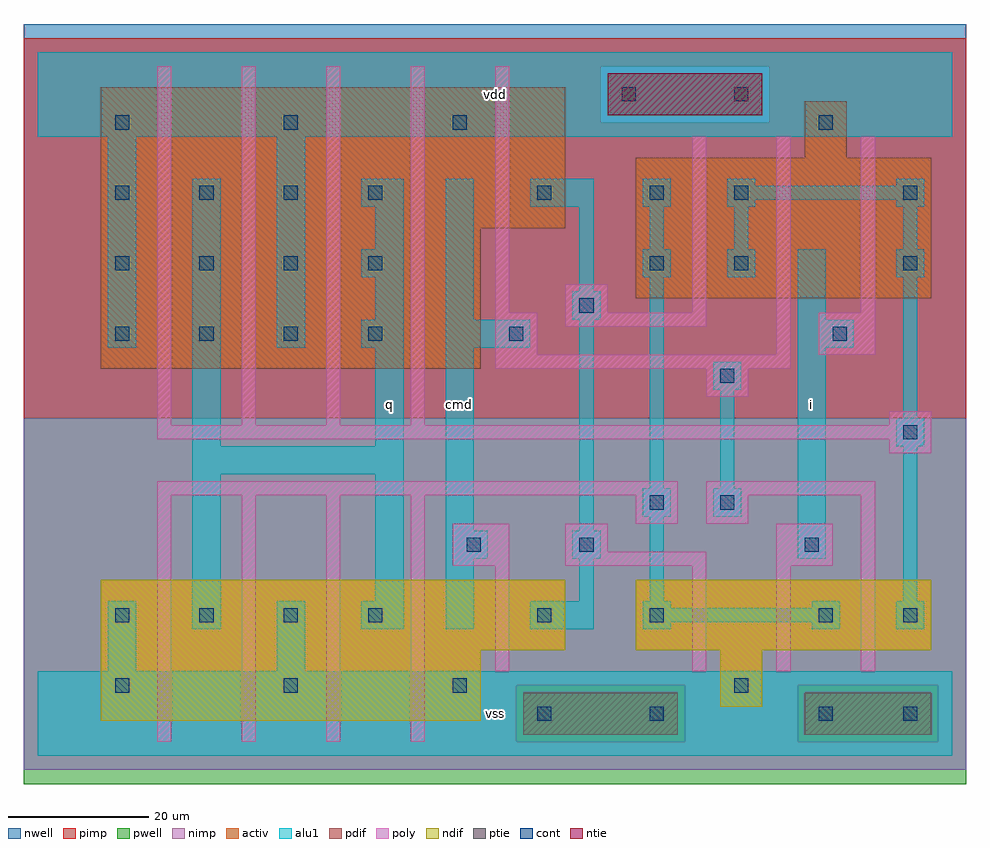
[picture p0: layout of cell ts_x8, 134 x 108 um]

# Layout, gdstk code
import gdstk
lib = gdstk.Library(unit=1e-6, precision=1e-09)
def R(c, l, rs):  # rectangles x0, y0, x1, y1
    for r in rs: c.add(gdstk.rectangle(r[:2], r[2:], *l))
def A(c, l, x, y, w, h, nx, ny, dx, dy):  # array of equal rectangles
    R(c, l, [(x+i*dx, y+j*dy, x+i*dx+w, y+j*dy+h) for i in range(nx) for j in range(ny)])
ndif = (3, 0)
pdif = (4, 0)
ntie = (5, 0)
ptie = (6, 0)
cont = (25, 0)
pwell = (41, 0)
nwell = (42, 0)
activ = (43, 0)
pimp = (44, 0)
nimp = (45, 0)
poly = (46, 0)
alu1 = (49, 0)

ts_x8 = lib.new_cell('ts_x8')
R(ts_x8, ndif, [(9,5,63,15), (97,7,103,15), (9,15,75,25), (85,15,127,25)])
R(ts_x8, pdif, [(9,55,63,75), (85,65,127,85), (9,75,75,95), (109,85,115,93)])
R(ts_x8, ntie, [(81,91,103,97)])
R(ts_x8, ptie, [(69,3,91,9), (109,3,127,9)])
A(ts_x8, cont, 11, 9, 2, 2, 3, 2, 24, 80)
A(ts_x8, cont, 11, 19, 2, 2, 4, 2, 12, 40)
A(ts_x8, cont, 11, 69, 2, 2, 4, 2, 12, 10)
R(ts_x8, cont, [(71,5,73,7), (87,5,89,7), (111,5,113,7), (123,5,125,7), (99,9,101,11), (71,19,73,21), (87,19,89,21), (111,19,113,21), (123,19,125,21), (61,29,63,31), (77,29,79,31), (109,29,111,31), (87,35,89,37), (97,35,99,37), (123,45,125,47), (97,53,99,55), (67,59,69,61), (113,59,115,61), (77,63,79,65), (87,69,89,71), (99,69,101,71), (123,69,125,71), (71,79,73,81), (87,79,89,81), (99,79,101,81), (123,79,125,81), (111,89,113,91), (83,93,85,95), (99,93,101,95)])
R(ts_x8, pwell, [(-2,-4,132,48)])
R(ts_x8, nwell, [(-2,48,132,104)])
R(ts_x8, activ, [(69,3,91,9), (109,3,127,9), (9,5,63,15), (97,7,103,15), (9,15,75,25), (85,15,127,25), (9,55,63,75), (85,65,127,85), (9,75,75,95), (109,85,115,93), (81,91,103,97)])
R(ts_x8, pimp, [(68,2,92,10), (108,2,128,10), (-2,48,132,90), (-2,90,80,98), (104,90,132,98), (-2,98,132,102)])
R(ts_x8, nimp, [(-2,-2,132,2), (-2,2,68,10), (92,2,108,10), (128,2,132,10), (-2,10,132,48), (80,90,104,98)])
A(ts_x8, poly, 17, 2, 2, 35, 4, 1, 12, 0)
A(ts_x8, poly, 17, 47, 2, 51, 4, 1, 12, 0)
R(ts_x8, poly, [(65,12,67,27), (93,12,95,27), (105,12,107,27), (117,12,119,37), (59,27,67,33), (75,27,95,29), (105,27,113,33), (75,29,81,33), (85,33,91,37), (95,33,101,37), (17,37,91,39), (95,37,119,39), (121,43,127,45), (17,45,127,47), (121,47,127,49), (95,51,101,55), (65,55,107,57), (65,57,71,63), (105,57,107,88), (111,57,119,63), (75,61,95,63), (65,63,67,98), (75,63,81,67), (93,63,95,88), (117,63,119,88)])
A(ts_x8, alu1, 46, 58, 6, 4, 1, 3, 0, 10)
R(ts_x8, alu1, [(0,0,130,12), (10,12,14,22), (34,12,38,22), (22,18,26,40), (46,18,52,22), (58,18,62,28), (70,18,79,22), (86,18,90,19), (110,18,114,19), (122,18,126,22), (86,19,114,21), (86,21,90,22), (110,21,114,22), (48,22,52,40), (77,22,79,28), (87,22,89,34), (123,22,125,44), (58,28,64,32), (76,28,80,32), (108,28,112,58), (58,32,62,58), (77,32,79,62), (86,34,90,38), (96,34,100,38), (87,38,89,68), (97,38,99,52), (22,40,52,44), (22,44,26,82), (48,44,52,58), (122,44,126,48), (123,48,125,68), (96,52,100,56), (10,58,14,88), (34,58,38,88), (58,58,70,62), (108,58,116,62), (48,62,52,68), (58,62,62,82), (76,62,80,66), (108,62,112,72), (77,66,79,78), (86,68,90,72), (98,68,102,72), (122,68,126,72), (48,72,52,78), (87,72,89,78), (99,72,101,78), (123,72,125,78), (70,78,79,82), (86,78,90,82), (98,78,102,79), (122,78,126,79), (98,79,126,81), (98,81,102,82), (122,81,126,82), (0,88,130,100)])
ts_x8.add(gdstk.Label('vss', (65,6), layer=49, texttype=0))
ts_x8.add(gdstk.Label('q', (50,50), layer=49, texttype=0))
ts_x8.add(gdstk.Label('cmd', (60,50), layer=49, texttype=0))
ts_x8.add(gdstk.Label('vdd', (65,94), layer=49, texttype=0))
ts_x8.add(gdstk.Label('i', (110,50), layer=49, texttype=0))

lib.write_gds('ts_x8.gds')
